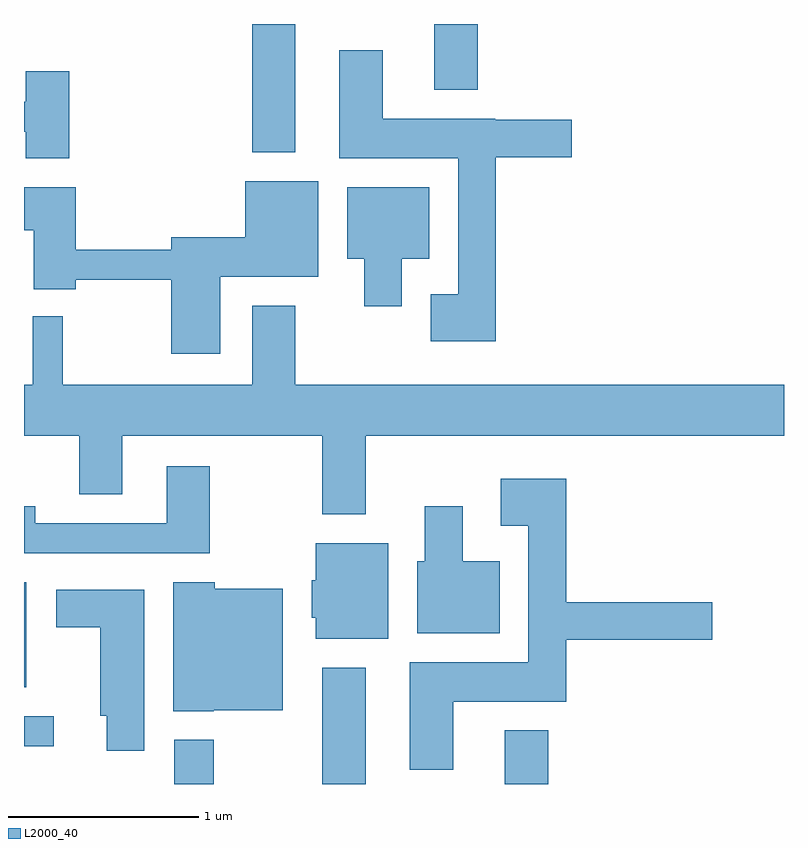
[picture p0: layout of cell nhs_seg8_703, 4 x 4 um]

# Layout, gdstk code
import gdstk
lib = gdstk.Library(unit=1e-6, precision=1e-09)
def R(c, l, rs):  # rectangles x0, y0, x1, y1
    for r in rs: c.add(gdstk.rectangle(r[:2], r[2:], *l))
def P(c, l, *ps):  # polygons
    for p in ps: c.add(gdstk.Polygon(p, *l))
L2000_40 = (2000, 40)

nhs_seg8_703 = lib.new_cell('nhs_seg8_703')
R(nhs_seg8_703, L2000_40, [(206.401,1852.342,206.609,1852.574), (207.181,1852.342,207.409,1852.954), (208.141,1852.342,208.369,1852.624), (205.611,1852.541,205.768,1852.699), (205.611,1852.851,205.624,1853.404), (206.811,1855.666,207.039,1856.342), (207.771,1855.996,207.999,1856.342)])
P(nhs_seg8_703, L2000_40, [(208.094,1855.641),(208.494,1855.641),(208.494,1855.839),(208.09,1855.839),(208.09,1855.844),(207.499,1855.844),(207.499,1856.204),(207.271,1856.204),(207.271,1855.636),(207.896,1855.636),(207.896,1854.919),(207.751,1854.919),(207.751,1854.671),(208.094,1854.671)],
  [(205.849,1856.094),(205.621,1856.094),(205.621,1855.934),(205.611,1855.934),(205.611,1855.776),(205.621,1855.776),(205.621,1855.636),(205.849,1855.636)],
  [(206.644,1855.011),(207.159,1855.011),(207.159,1855.514),(206.776,1855.514),(206.776,1855.219),(206.386,1855.219),(206.386,1855.154),(205.884,1855.154),(205.884,1855.484),(205.611,1855.484),(205.611,1855.256),(205.661,1855.256),(205.661,1854.946),(205.884,1854.946),(205.884,1854.996),(206.386,1854.996),(206.386,1854.606),(206.644,1854.606)],
  [(207.599,1855.106),(207.744,1855.106),(207.744,1855.484),(207.311,1855.484),(207.311,1855.106),(207.401,1855.106),(207.401,1854.856),(207.599,1854.856)],
  [(207.409,1854.176),(209.611,1854.176),(209.611,1854.444),(207.039,1854.444),(207.039,1854.859),(206.811,1854.859),(206.811,1854.444),(205.814,1854.444),(205.814,1854.803),(205.656,1854.803),(205.656,1854.444),(205.611,1854.444),(205.611,1854.176),(205.901,1854.176),(205.901,1853.866),(206.129,1853.866),(206.129,1854.176),(207.181,1854.176),(207.181,1853.761),(207.409,1853.761)],
  [(206.589,1854.014),(206.361,1854.014),(206.361,1853.714),(205.669,1853.714),(205.669,1853.804),(205.611,1853.804),(205.611,1853.556),(206.589,1853.556)],
  [(207.869,1852.776),(208.464,1852.776),(208.464,1853.101),(209.234,1853.101),(209.234,1853.299),(208.464,1853.299),(208.464,1853.949),(208.121,1853.949),(208.121,1853.701),(208.266,1853.701),(208.266,1852.984),(207.641,1852.984),(207.641,1852.416),(207.869,1852.416)],
  [(208.114,1853.514),(207.919,1853.514),(207.919,1853.804),(207.721,1853.804),(207.721,1853.514),(207.681,1853.514),(207.681,1853.136),(208.114,1853.136)],
  [(207.529,1853.609),(207.146,1853.609),(207.146,1853.414),(207.126,1853.414),(207.126,1853.216),(207.146,1853.216),(207.146,1853.106),(207.529,1853.106)],
  [(206.61,1852.731),(206.974,1852.731),(206.974,1853.369),(206.614,1853.369),(206.614,1853.404),(206.396,1853.404),(206.396,1852.726),(206.61,1852.726)],
  [(206.244,1853.364),(205.781,1853.364),(205.781,1853.166),(206.011,1853.166),(206.011,1852.701),(206.046,1852.701),(206.046,1852.516),(206.244,1852.516)])

lib.write_gds('nhs_seg8_703.gds')
